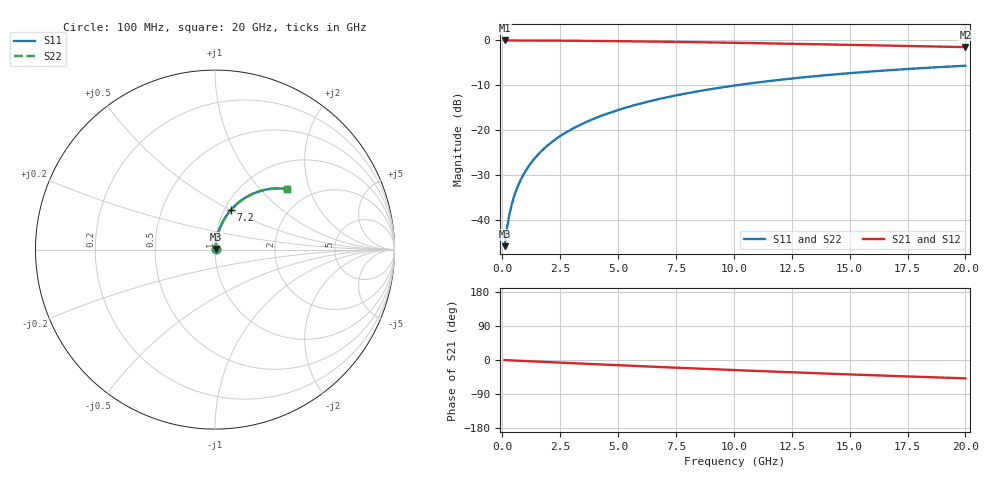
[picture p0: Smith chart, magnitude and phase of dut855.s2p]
! Touchstone file exported from HFSS 2026.1.0
!  File:  C:/ffzhzh/LocalFiles/Ansys_Project_Files/temp_train_BSMRDL_855_1783170649_18472.aedt
!  Generated:  09:12:07 PM Jul  4, 2026
!  Design:  BSMRDL
!  Project:  temp_train_BSMRDL_855_1783170649_18472
! Variables:
!  h_bsmrdl = 4.5um
!  h_ox = 20um
!  h_rdl = 5um
!  h_sub = 80um
!  h_tmrdl = 5um
!  h_tsv = 80um
!  h_via = 3um
!  l_bsmrdl = 659.62um
!  l_sub = 1059.62um
!  l_tmrdl = 200um
!  m_sub = 200um
!  pitch = 54.24um
!  r_tsv = 6um
!  s_tmrdl = 10um
!  w_bsmrdl = 14.34um
!  w_sub = 500um
!  w_tmrdl = 12um
!  x_tsv_center1 = 206um
!  x_tsv_center2 = 879.96um
!  x_tsv_center3 = 1091.96um
!  x_tsv_center4 = 1765.92um
!  x_tsv_center5 = 1977.92um
!  x_tsv_center6 = 2651.88um
# GHz S MA R 50.000000
! Terminal data exported
! Port[1] = BSM_RDL1_1_T1
! Port[2] = BSM_RDL1_1_T2
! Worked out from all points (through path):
!   200 points, 100 MHz to 20 GHz, reference 50 ohm
!   highest |S21| = -0.03 dB at 100 MHz (marker M1); lowest = -1.5 dB at 20 GHz (marker M2)
!   group delay of S21, straight-line fit = 6.73 ps
!   lowest |S11| = -45.7 dB at 100 MHz (marker M3), VSWR 1.01, Z = 50.4 + j0.362 ohm
!   |S11| at or under -10 dB: start of sweep to 10.1 GHz
!   |S22| runs from -45.7 to -5.6 dB; largest |S21 - S12| = 1.9e-15
!   S11 on the Smith chart (normalised r, x): 100 MHz: 1.01, +0.01; 7.2 GHz: 1.07, +0.50; 20 GHz: 1.53, +1.42
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0.1  0.005163 44.2  0.9963 -0.3  0.9963 -0.3  0.005163 44.2
! Gamma 0 0 0 0
! Port Impedance 50 0 50 0
0.2  0.008118 61.7  0.9962 -0.6  0.9962 -0.6  0.008118 61.7
0.3  0.01139 69.2  0.9961 -0.9  0.9961 -0.9  0.01139 69.2
0.4  0.01474 73.2  0.9959 -1.1  0.9959 -1.1  0.01474 73.2
0.5  0.01811 75.7  0.9958 -1.4  0.9958 -1.4  0.01811 75.7
0.6  0.02151 77.3  0.9957 -1.7  0.9957 -1.7  0.02151 77.3
0.8  0.02832 79.2  0.9954 -2.3  0.9954 -2.3  0.02832 79.2
1.1  0.03858 80.4  0.9949 -3.1  0.9949 -3.1  0.03858 80.4
1.5  0.05228 80.8  0.9941 -4.2  0.9941 -4.2  0.05228 80.8
1.8  0.06253 80.6  0.9933 -5.0  0.9933 -5.0  0.06253 80.6
2.1  0.07274 80.2  0.9924 -5.9  0.9924 -5.9  0.07274 80.2
2.7  0.09301 79.2  0.9903 -7.5  0.9903 -7.5  0.09301 79.2
3.5  0.1196 77.4  0.9869 -9.7  0.9869 -9.7  0.1196 77.4
4.2  0.1425 75.8  0.9833 -11.6  0.9833 -11.6  0.1425 75.7
5  0.1681 73.8  0.9786 -13.8  0.9786 -13.8  0.1681 73.8
6.8  0.2236 69.3  0.9662 -18.5  0.9662 -18.5  0.2236 69.3
7.2  0.2354 68.3  0.9631 -19.5  0.9631 -19.5  0.2354 68.3
8.6  0.2756 64.9  0.9516 -23.1  0.9516 -23.1  0.2756 64.9
10.1  0.3164 61.3  0.9383 -26.8  0.9383 -26.8  0.3164 61.3
13.4  0.397 53.8  0.9063 -34.5  0.9063 -34.5  0.397 53.8
16.7  0.4654 46.8  0.8731 -41.7  0.8731 -41.7  0.4654 46.8
20  0.5221 40.3  0.8406 -48.4  0.8406 -48.4  0.5221 40.3
